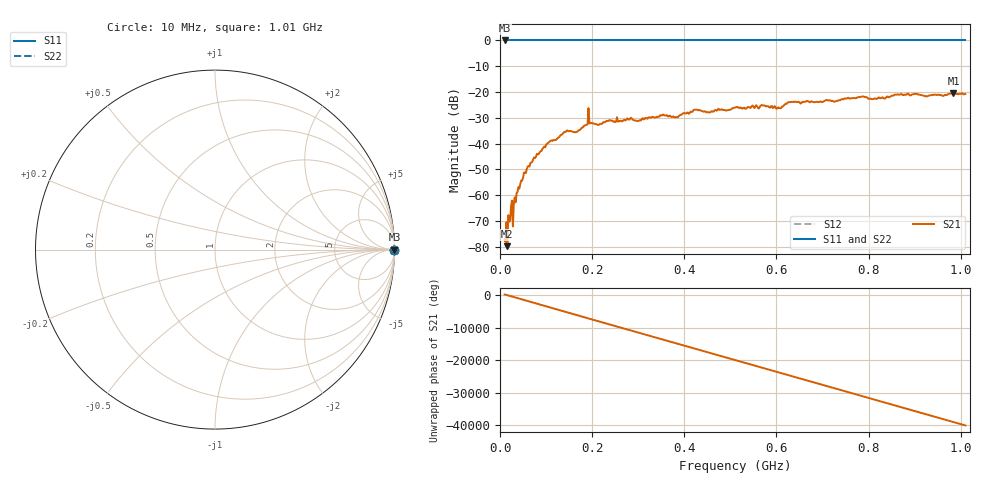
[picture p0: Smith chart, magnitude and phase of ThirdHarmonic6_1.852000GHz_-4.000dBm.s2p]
! 8/16/2025 10:24:15 PM
! C:\ANRITSUVNA\TEMP\TEMP.S2P
! CHANNEL.1
! TR.MEASUREMENT
! RAW.DATA
! RF.CORRECTION.OFF
! AVERAGING.OFF
! IF.BANDWIDTH: 5KHZ
! SWEEPTYPE:  FREQ.SWEEP(Linear)
! Reference Plane Port Info
! PORT:  PORT1  PORT2
! DISTANCE:  0  m  0  m
! TIME:  0  s  0  s
! PHASE.OFFSET:  0  deg.  0  deg.
! LOSS:  0  dB  0  dB
! REF.LOSS:  0  dB  0  dB
! REF.FREQ:  0  Hz  0  Hz
! Power Info
! POWER:  -20  dBm  -20  dBm
! EFF.POWER:  -20  dBm  -20  dBm
! SOURCE.ATTEN:  0  dB  0  dB
! TEST.ATTEN:  0  dB  0  dB
# GHZ S RI R 50.0
! FREQ.GHZ  S11RE  S11IM  S21RE  S21IM  S12RE  S12IM  S22RE  S22IM
!; PortSelection: Port_12
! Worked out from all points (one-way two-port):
!   501 points, 10 MHz to 1.01 GHz, reference 50 ohm
!   highest |S21| = -20.43 dB at 984 MHz (marker M1); lowest = -79.8 dB at 16 MHz (marker M2)
!   lowest |S11| = 0.0 dB at 10 MHz (marker M3)
!   |S11| at or under -10 dB: nowhere
!   |S22| runs from 0.0 to 0.0 dB; largest |S21 - S12| = 1.1
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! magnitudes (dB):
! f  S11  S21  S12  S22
! 10 MHz  0.0  -77.3  0.0  0.0
! 12 MHz  0.0  -78.2  0.0  0.0
! 16 MHz  0.0  -79.8  0.0  0.0
! 20 MHz  0.0  -70.4  0.0  0.0
! 22 MHz  0.0  -69.8  0.0  0.0
! 24 MHz  0.0  -64.2  0.0  0.0
! 40 MHz  0.0  -56.9  0.0  0.0
! 56 MHz  0.0  -51.5  0.0  0.0
! 70 MHz  0.0  -47.1  0.0  0.0
! 108 MHz  0.0  -39.2  0.0  0.0
! 142 MHz  0.0  -35.5  0.0  0.0
! 178 MHz  0.0  -33.8  0.0  0.0
! 196 MHz  0.0  -32.1  0.0  0.0
! 214 MHz  0.0  -32.8  0.0  0.0
! 344 MHz  0.0  -29.6  0.0  0.0
! 510 MHz  0.0  -26.0  0.0  0.0
! 604 MHz  0.0  -25.9  0.0  0.0
! 628 MHz  0.0  -23.9  0.0  0.0
! 678 MHz  0.0  -23.8  0.0  0.0
! 844 MHz  0.0  -22.0  0.0  0.0
! 984 MHz  0.0  -20.4  0.0  0.0
! 1.01 GHz  0.0  -20.8  0.0  0.0
